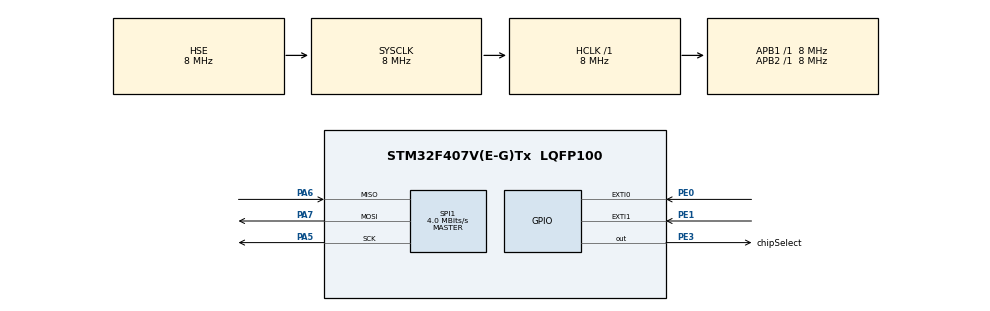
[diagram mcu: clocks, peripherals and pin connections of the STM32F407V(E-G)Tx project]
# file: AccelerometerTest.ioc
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Mcu.Family=STM32F4
Mcu.Name=STM32F407V(E-G)Tx
Mcu.Package=LQFP100
NVIC.PriorityGroup=NVIC_PRIORITYGROUP_4
PA5.Mode=Full_Duplex_Master
PA5.Signal=SPI1_SCK
PA6.Mode=Full_Duplex_Master
PA6.Signal=SPI1_MISO
PA7.Mode=Full_Duplex_Master
PA7.Signal=SPI1_MOSI
PE0.Signal=GPXTI0
PE1.Signal=GPXTI1
PE3.GPIO_Label=chipSelect
PE3.Signal=GPIO_Output
PH0-OSC_IN.Mode=HSE-External-Oscillator
PH0-OSC_IN.Signal=RCC_OSC_IN
PH1-OSC_OUT.Mode=HSE-External-Oscillator
PH1-OSC_OUT.Signal=RCC_OSC_OUT
ProjectManager.HeapSize=0x200
ProjectManager.StackSize=0x400
ProjectManager.TargetToolchain=STM32CubeIDE
RCC.48MHZClocksFreq_Value=48000000
RCC.AHBFreq_Value=8000000
RCC.APB1Freq_Value=8000000
RCC.APB1TimFreq_Value=8000000
RCC.APB2Freq_Value=8000000
RCC.APB2TimFreq_Value=8000000
RCC.CortexFreq_Value=8000000
RCC.HCLKFreq_Value=8000000
RCC.HSE_VALUE=8000000
RCC.HSI_VALUE=16000000
RCC.LSE_VALUE=32768
RCC.PLLM=8
RCC.PLLSourceVirtual=RCC_PLLSOURCE_HSE
RCC.SYSCLKFreq_VALUE=8000000
RCC.SYSCLKSource=RCC_SYSCLKSOURCE_HSE
RCC.VCOOutputFreq_Value=192000000
SPI1.BaudRatePrescaler=SPI_BAUDRATEPRESCALER_2
SPI1.CalculateBaudRate=4.0 MBits/s
SPI1.Direction=SPI_DIRECTION_2LINES
SPI1.Mode=SPI_MODE_MASTER
SPI1.VirtualType=VM_MASTER
board=custom

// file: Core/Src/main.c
/* USER CODE BEGIN Header */
/**
  ******************************************************************************
  * @file           : main.c
  * @brief          : Main program body
  ******************************************************************************
  * @attention
  *
  * Copyright (c) 2025 STMicroelectronics.
  * All rights reserved.
  *
  * This software is licensed under terms that can be found in the LICENSE file
  * in the root directory of this software component.
  * If no LICENSE file comes with this software, it is provided AS-IS.
  *
  ******************************************************************************
  */
/* USER CODE END Header */
#include "main.h"

/* USER CODE BEGIN Includes */
#include "math.h"
/* USER CODE END Includes */

/* USER CODE BEGIN PD */
#define ACCEL_CS_LOW()   HAL_GPIO_WritePin(GPIOE, GPIO_PIN_3, GPIO_PIN_RESET)  // Chip Select LOW
#define ACCEL_CS_HIGH()  HAL_GPIO_WritePin(GPIOE, GPIO_PIN_3, GPIO_PIN_SET)    // Chip Select HIGH

/* USER CODE END PD */

SPI_HandleTypeDef hspi1;

/* USER CODE BEGIN PV */
uint8_t reg = 0x0F | 0x80;  // WHO_AM_I register (0x0F) with read bit (0x80)
uint8_t id = 0x0;
uint8_t accReg [6] = {0x28, 0x29, 0x2A, 0x2B, 0x2C, 0x2D};
int16_t accX = 0;
int16_t accY = 0;
int16_t accZ = 0;
double accValues[3];

uint8_t isEnabled = 0;
uint8_t enableAcc[2] = {0x20, 0x67};
uint8_t enableDRY[2] = {0x23, 0xC8};
uint8_t status = 0;
uint8_t data[6];
uint8_t const range = 2;

double angleData, angleValue;

/* USER CODE END PV */

void SystemClock_Config(void);
static void MX_GPIO_Init(void);
static void MX_SPI1_Init(void);

int main(void)
{

  /* MCU Configuration--------------------------------------------------------*/

  /* Reset of all peripherals, Initializes the Flash interface and the Systick. */
  HAL_Init();

  /* Configure the system clock */
  SystemClock_Config();

  /* Initialize all configured peripherals */
  MX_GPIO_Init();
  MX_SPI1_Init();
  /* USER CODE BEGIN 2 */

  HAL_Delay(100);
  // which is my accelerometer?
  //ACCEL_CS_LOW();                  // Enable SPI communication
  //HAL_SPI_Transmit(&hspi1, &reg, 1, HAL_MAX_DELAY);  // Send register address
  //HAL_SPI_Receive(&hspi1, &id, 1, HAL_MAX_DELAY);    // Receive the ID
  //ACCEL_CS_HIGH();

  uint8_t msg = (enableAcc[0] | 0x80);
  ACCEL_CS_LOW();
  HAL_SPI_Transmit(&hspi1, &msg, 1, HAL_MAX_DELAY);
  HAL_SPI_Receive(&hspi1, &isEnabled, 1, HAL_MAX_DELAY);
  ACCEL_CS_HIGH();

  //initial setup
  ACCEL_CS_LOW();
  msg = (enableAcc[0] & 0x3F);
  HAL_SPI_Transmit(&hspi1, &msg, 1, HAL_MAX_DELAY);
  HAL_SPI_Transmit(&hspi1, &enableAcc[1], 1, HAL_MAX_DELAY);
  ACCEL_CS_HIGH();
  HAL_Delay(10);

  msg = (enableAcc[0] | 0x80);
  ACCEL_CS_LOW();
  HAL_SPI_Transmit(&hspi1, &msg, 1, HAL_MAX_DELAY);
  HAL_SPI_Receive(&hspi1, &isEnabled, 1, HAL_MAX_DELAY);
  ACCEL_CS_HIGH();
  HAL_Delay(10);

  msg = enableDRY[0] & 0x3F;
  ACCEL_CS_LOW();
  HAL_SPI_Transmit(&hspi1, &msg, 1, HAL_MAX_DELAY);
  HAL_SPI_Transmit(&hspi1, &enableDRY[1], 1, HAL_MAX_DELAY);
  ACCEL_CS_HIGH();                 // Disable
  HAL_Delay(10);
  /* USER CODE END 2 */

  /* Infinite loop */
  /* USER CODE BEGIN WHILE */
  while (1)
  {
	msg = 0x27 & 0x3F;
	ACCEL_CS_LOW();
	HAL_SPI_Transmit(&hspi1, &msg, 1, 10);
	HAL_SPI_Receive(&hspi1, &status, 1, 10);
	ACCEL_CS_HIGH();
	HAL_Delay(10);
	if ((status & 0x4) != 0x4){
		continue;
	}
	for(short i = 0; i<6; i++){
		msg = accReg[i] | 0x80;
		ACCEL_CS_LOW();                  // Enable SPI communication
		HAL_SPI_Transmit(&hspi1, &msg, 1, HAL_MAX_DELAY);  // Send register address
		HAL_SPI_Receive(&hspi1, &data[i], 1, HAL_MAX_DELAY);    // Receive the ID
		ACCEL_CS_HIGH();                 // Disable SPI
		HAL_Delay(10);
	}

	accX = (data[0] | (data[1] << 8));
	accY = (data[2] | (data[3] << 8));
	accZ = (data[4] | (data[5] << 8));

	accValues[0] = (accX / 32767.0) * 2;	//measured value / max value * max measurement value
	accValues[1] = (accY / 32767.0) * 2;
	accValues[2] = (accZ / 32767.0) * 2;

	angleData = atan(accX/accZ)*180/M_PI; // in degrees
	angleValue = atan(accValues[0]/accValues[2])*180/M_PI;

	HAL_Delay(10);

    /* USER CODE END WHILE */

  }
}

void SystemClock_Config(void)
{
  RCC_OscInitTypeDef RCC_OscInitStruct = {0};
  RCC_ClkInitTypeDef RCC_ClkInitStruct = {0};

  /** Configure the main internal regulator output voltage
  */
  __HAL_RCC_PWR_CLK_ENABLE();
  __HAL_PWR_VOLTAGESCALING_CONFIG(PWR_REGULATOR_VOLTAGE_SCALE1);

  /** Initializes the RCC Oscillators according to the specified parameters
  * in the RCC_OscInitTypeDef structure.
  */
  RCC_OscInitStruct.OscillatorType = RCC_OSCILLATORTYPE_HSE;
  RCC_OscInitStruct.HSEState = RCC_HSE_ON;
  RCC_OscInitStruct.PLL.PLLState = RCC_PLL_NONE;
  if (HAL_RCC_OscConfig(&RCC_OscInitStruct) != HAL_OK)
  {
    Error_Handler();
  }

  /** Initializes the CPU, AHB and APB buses clocks
  */
  RCC_ClkInitStruct.ClockType = RCC_CLOCKTYPE_HCLK|RCC_CLOCKTYPE_SYSCLK
                              |RCC_CLOCKTYPE_PCLK1|RCC_CLOCKTYPE_PCLK2;
  RCC_ClkInitStruct.SYSCLKSource = RCC_SYSCLKSOURCE_HSE;
  RCC_ClkInitStruct.AHBCLKDivider = RCC_SYSCLK_DIV1;
  RCC_ClkInitStruct.APB1CLKDivider = RCC_HCLK_DIV1;
  RCC_ClkInitStruct.APB2CLKDivider = RCC_HCLK_DIV1;

  if (HAL_RCC_ClockConfig(&RCC_ClkInitStruct, FLASH_LATENCY_0) != HAL_OK)
  {
    Error_Handler();
  }
}

static void MX_SPI1_Init(void)
{

  /* SPI1 parameter configuration*/
  hspi1.Instance = SPI1;
  hspi1.Init.Mode = SPI_MODE_MASTER;
  hspi1.Init.Direction = SPI_DIRECTION_2LINES;
  hspi1.Init.DataSize = SPI_DATASIZE_8BIT;
  hspi1.Init.CLKPolarity = SPI_POLARITY_LOW;
  hspi1.Init.CLKPhase = SPI_PHASE_1EDGE;
  hspi1.Init.NSS = SPI_NSS_SOFT;
  hspi1.Init.BaudRatePrescaler = SPI_BAUDRATEPRESCALER_2;
  hspi1.Init.FirstBit = SPI_FIRSTBIT_MSB;
  hspi1.Init.TIMode = SPI_TIMODE_DISABLE;
  hspi1.Init.CRCCalculation = SPI_CRCCALCULATION_DISABLE;
  hspi1.Init.CRCPolynomial = 10;
  if (HAL_SPI_Init(&hspi1) != HAL_OK)
  {
    Error_Handler();
  }

}

static void MX_GPIO_Init(void)
{
  GPIO_InitTypeDef GPIO_InitStruct = {0};

  /* GPIO Ports Clock Enable */
  __HAL_RCC_GPIOE_CLK_ENABLE();
  __HAL_RCC_GPIOH_CLK_ENABLE();
  __HAL_RCC_GPIOA_CLK_ENABLE();

  /*Configure GPIO pin Output Level */
  HAL_GPIO_WritePin(chipSelect_GPIO_Port, chipSelect_Pin, GPIO_PIN_RESET);

  /*Configure GPIO pin : chipSelect_Pin */
  GPIO_InitStruct.Pin = chipSelect_Pin;
  GPIO_InitStruct.Mode = GPIO_MODE_OUTPUT_PP;
  GPIO_InitStruct.Pull = GPIO_NOPULL;
  GPIO_InitStruct.Speed = GPIO_SPEED_FREQ_LOW;
  HAL_GPIO_Init(chipSelect_GPIO_Port, &GPIO_InitStruct);

  /*Configure GPIO pins : PE0 PE1 */
  GPIO_InitStruct.Pin = GPIO_PIN_0|GPIO_PIN_1;
  GPIO_InitStruct.Mode = GPIO_MODE_IT_RISING;
  GPIO_InitStruct.Pull = GPIO_NOPULL;
  HAL_GPIO_Init(GPIOE, &GPIO_InitStruct);

}

void Error_Handler(void)
{
  __disable_irq();
  while (1)
  {
  }
}
